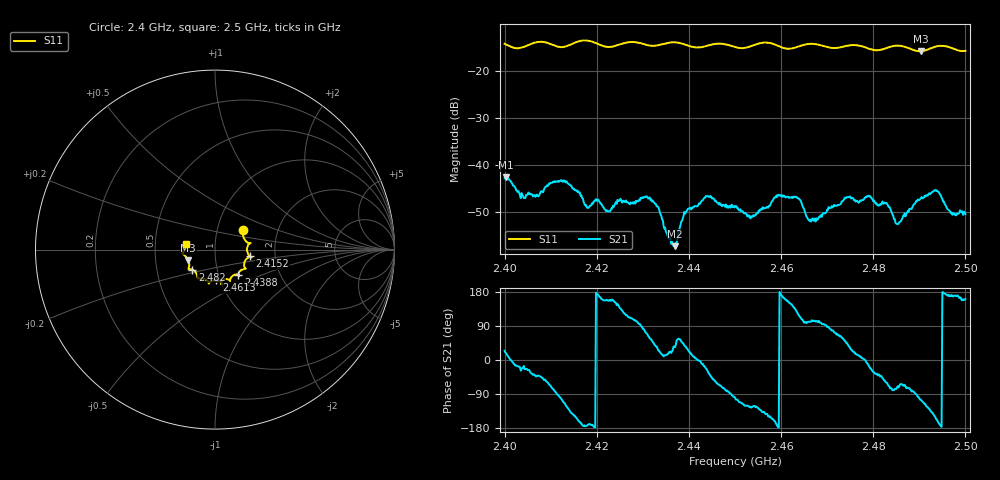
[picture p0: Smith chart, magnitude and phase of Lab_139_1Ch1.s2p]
# Hz S RI R 50
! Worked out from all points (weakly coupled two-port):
!   601 points, 2.4 GHz to 2.5 GHz, reference 50 ohm
!   highest |S21| = -42.61 dB at 2.4003 GHz (marker M1); lowest = -57.3 dB at 2.437 GHz (marker M2)
!   lowest |S11| = -15.9 dB at 2.4903 GHz (marker M3), VSWR 1.38, Z = 36.8 - j4.45 ohm
!   |S11| at or under -10 dB: start of sweep to end of sweep
!   S12 and S22 are empty: the file has one direction only
!   S11 on the Smith chart (normalised r, x): 2.4 GHz: 1.33, +0.31; 2.4152 GHz: 1.48, -0.11; 2.4388 GHz: 1.24, -0.36; 2.4613 GHz: 0.96, -0.34; 2.482 GHz: 0.76, -0.17; 2.5 GHz: 0.72, +0.05
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2.4e9  0.1576 0.1118  0.00657 0.00297  0 0  0 0
2.400333e9  0.1568 0.1075  0.00707 0.00222  0 0  0 0
2.404e9  0.1709 0.0479  0.00438 -0.00161  0 0  0 0
2.411833e9  0.1783 0.0086  -0.000742 -0.00659  0 0  0 0
2.415167e9  0.1938 -0.0372  -0.00459 -0.00304  0 0  0 0
2.416667e9  0.2036 -0.0434  -0.00463 -0.00104  0 0  0 0
2.422333e9  0.1671 -0.0634  -0.00296 0.00123  0 0  0 0
2.433333e9  0.1323 -0.1316  0.00322 0.00155  0 0  0 0
2.437e9  0.1351 -0.1476  0.00114 0.000763  0 0  0 0
2.438833e9  0.1299 -0.1409  0.0021 0.00196  0 0  0 0
2.444167e9  0.0848 -0.1647  0.00394 -0.00249  0 0  0 0
2.45e9  0.0687 -0.1648  -0.000577 -0.00361  0 0  0 0
2.453833e9  0.0348 -0.1816  -0.00153 -0.00236  0 0  0 0
2.461333e9  0.00768 -0.1709  -0.00416 0.00191  0 0  0 0
2.466667e9  -0.0346 -0.1899  -0.000665 0.0025  0 0  0 0
2.4745e9  -0.0904 -0.161  0.00347 0.00296  0 0  0 0
2.482e9  -0.1258 -0.1117  0.00274 -0.00302  0 0  0 0
2.483333e9  -0.1395 -0.1089  0.00132 -0.00333  0 0  0 0
2.485333e9  -0.149 -0.1089  0.000836 -0.00219  0 0  0 0
2.490333e9  -0.1494 -0.059  -0.00112 -0.00427  0 0  0 0
2.493667e9  -0.1795 -0.0233  -0.00483 -0.00213  0 0  0 0
2.5e9  -0.1591 0.0326  -0.00283 0.000987  0 0  0 0
